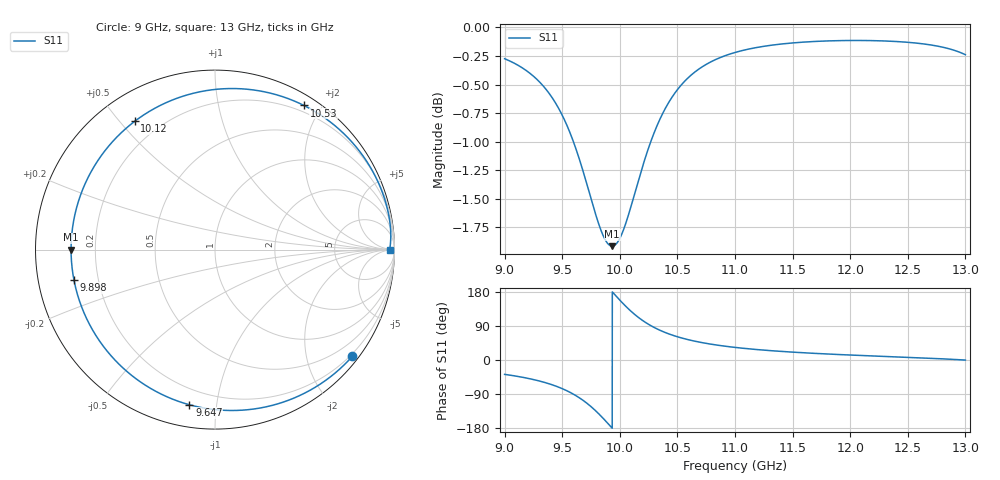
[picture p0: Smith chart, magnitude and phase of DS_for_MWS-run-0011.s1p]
! TOUCHSTONE file generated by CST DESIGN STUDIO
! Date and time: Tue Feb  4 16:08:50 2025
! Project name: C:\Work\MatlabApps\UnitCellOptimizationMatlab\CST\unitcell.cst
! Tree item: Tasks\Sweep1\SPara1\S-Parameters
! Header version: 2024
! Port assignment regex: !\s*Touchstone port\s*([0-9]+)\s*=\s*(CST MWS port|CST DES external port|CST DES block port)\s*(.+)\s* \(\"(.*)\"\)(\s*mode\s*([0-9]+))?.*
! Touchstone port assignment:
! Touchstone port 1 = CST DES external port 1 ("")
# GHz S MA R 50
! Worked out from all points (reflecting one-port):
!   4001 points, 9 GHz to 13 GHz, reference 50 ohm
!   lowest |S11| = -1.9 dB at 9.934 GHz (marker M1), VSWR 9.10, Z = 5.49 - j0.00312 ohm
!   phase of S11 starts at -38 deg and turns -322 deg over the sweep
!   S11 on the Smith chart (normalised r, x): 9 GHz: 0.15, -2.91; 9.647 GHz: 0.11, -0.84; 9.898 GHz: 0.11, -0.10; 10.12 GHz: 0.11, +0.55; 10.53 GHz: 0.12, +1.79; 13 GHz: 72, -7
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9  0.9689 -37.9
9.148  0.9604 -45.2
9.282  0.9488 -53.9
9.397  0.9341 -63.8
9.5  0.9153 -75.6
9.58  0.8959 -87.3
9.647  0.8762 -99.4
9.712  0.8545 -113.5
9.772  0.8341 -128.9
9.841  0.8139 -149.3
9.898  0.8039 -167.9
9.934  0.802 -180.0
10  0.8083 158.0
10.063  0.824 138.4
10.122  0.8432 122.0
10.193  0.8676 105.3
10.272  0.8921 90.2
10.382  0.9189 74.0
10.5  0.9391 61.3
10.534  0.9437 58.3
10.63  0.9541 51.1
10.737  0.9626 44.6
11  0.9751 33.2
11.223  0.9806 26.7
11.5  0.9845 20.8
12  0.9869 13.1
12.5  0.9851 7.0
13  0.9729 -0.2
